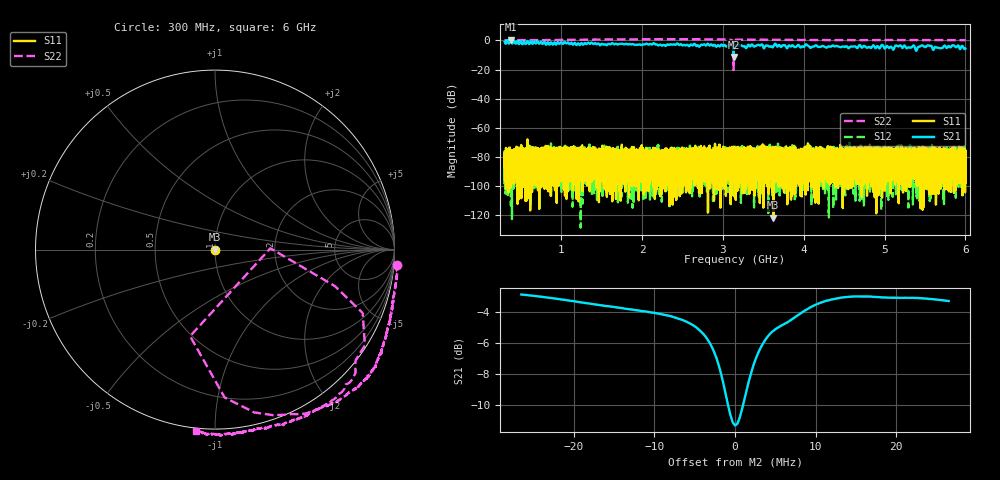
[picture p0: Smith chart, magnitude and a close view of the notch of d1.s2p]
!Agilent Technologies,N5230C,SG49000117,A.08.50.07
!Agilent N5230C: A.08.50.07
!Date: Monday, March 18, 2024 17:55:13
!Correction: S11(Off)
!S21(Off)
!S12(Off)
!S22(Full 1 Port(2))
!S2P File: Measurements: S11, S21, S12, S22:
# Hz S  RI  R 50
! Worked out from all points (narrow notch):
!   20001 points, 300 MHz to 6 GHz, reference 50 ohm
!   highest |S21| = 0.43 dB at 374.4 MHz (marker M1); lowest = -11.3 dB at 3.132 GHz (marker M2)
!   notch at M2: 8.0 dB deep, 4.43 MHz wide at half that depth
!   lowest |S11| = -121.8 dB at 3.623 GHz (marker M3), VSWR 1.00, Z = 50 + j7.08e-07 ohm
!   |S11| at or under -10 dB: start of sweep to end of sweep
!   |S22| runs from -20.3 to 0.9 dB; largest |S21 - S12| = 1.1
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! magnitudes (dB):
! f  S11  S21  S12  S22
! 300 MHz  -80.2  -0.9  -80.7  0.1
! 374.4 MHz  -85.7  0.4  -97.3  0.2
! 1.25 GHz  -80.7  -1.8  -80.9  0.5
! 2.2 GHz  -77.2  -3.4  -71.8  0.9
! 3.052 GHz  -81.5  -4.0  -85.5  0.6
! 3.132 GHz  -76.9  -11.3  -84.2  -15.1
! 3.15 GHz  -81.1  -3.0  -80.1  -0.1
! 3.185 GHz  -81.6  -3.1  -81.9  0.5
! 3.273 GHz  -83.1  -4.3  -75.8  0.5
! 3.623 GHz  -121.8  -4.4  -76.4  0.4
! 3.98 GHz  -85.5  -4.1  -83.3  0.3
! 4.039 GHz  -84.8  -3.0  -86.5  0.3
! 4.1 GHz  -81.0  -4.4  -85.6  0.3
! 5.05 GHz  -83.6  -5.1  -83.2  0.3
! 5.1 GHz  -83.7  -5.9  -84.4  0.3
! 5.173 GHz  -84.9  -4.0  -83.1  0.3
! 5.401 GHz  -82.5  -6.1  -79.6  0.3
! 5.449 GHz  -81.6  -3.7  -82.5  0.3
! 5.553 GHz  -90.1  -3.8  -92.8  0.2
! 5.692 GHz  -87.5  -5.4  -80.9  0.2
! 5.85 GHz  -83.2  -3.3  -80.8  0.2
! 6 GHz  -84.9  -5.6  -96.9  0.2
